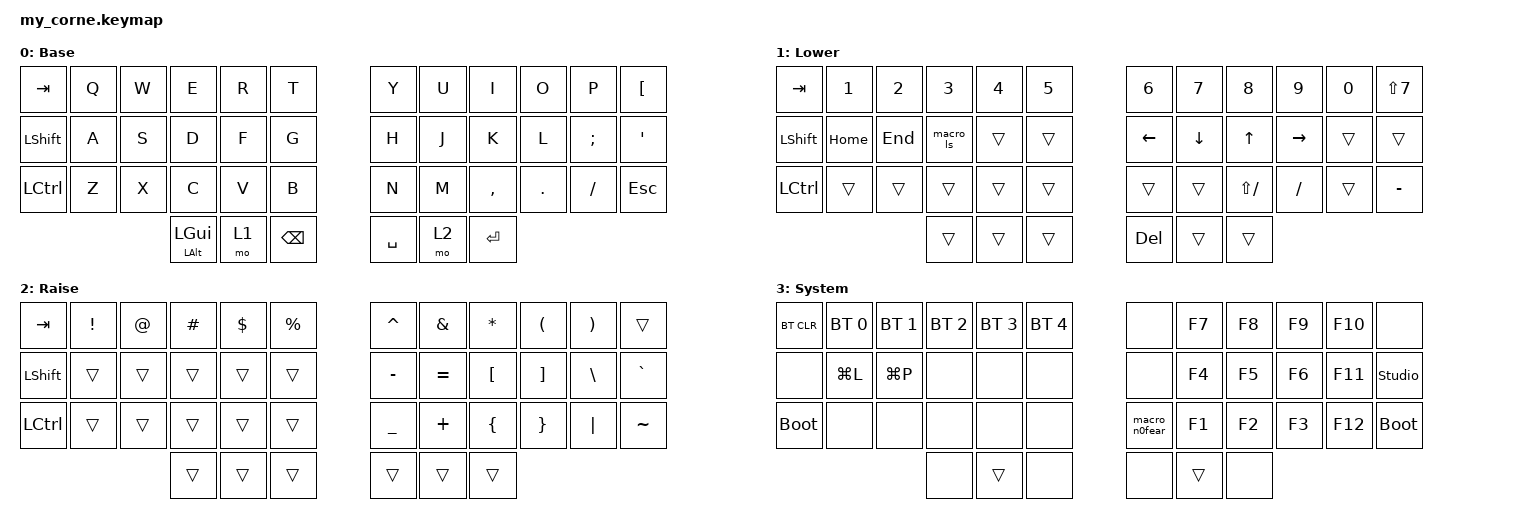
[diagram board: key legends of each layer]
/*
 * Copyright (c) 2020 The ZMK Contributors
 *
 * SPDX-License-Identifier: MIT
 */

#include <behaviors.dtsi>
#include <dt-bindings/zmk/keys.h>
#include <dt-bindings/zmk/bt.h>

/ {
        macros {
                // types "n0fear" and presses Enter (System + N)
                macro_n0fear: macro_n0fear {
                        compatible = "zmk,behavior-macro";
                        #binding-cells = <0>;
                        wait-ms = <10>;
                        tap-ms = <10>;
                        bindings = <&macro_tap &kp N &kp N0 &kp F &kp E &kp A &kp R &kp RET>;
                };

                // types "ls -ltrh" and presses Enter (Lower + D)
                macro_ls: macro_ls {
                        compatible = "zmk,behavior-macro";
                        #binding-cells = <0>;
                        wait-ms = <10>;
                        tap-ms = <10>;
                        bindings = <&macro_tap &kp L &kp S &kp SPACE &kp MINUS &kp L &kp T &kp R &kp H &kp RET>;
                };
        };

        combos {
                compatible = "zmk,combos";

                // J + K + L -> Enter
                combo_enter {
                        timeout-ms = <50>;
                        key-positions = <19 20 21>;
                        bindings = <&kp RET>;
                        layers = <0>;
                };

                // Tab + Q -> ~
                combo_tilde {
                        timeout-ms = <50>;
                        key-positions = <0 1>;
                        bindings = <&kp TILDE>;
                        layers = <0>;
                };

                // D + F -> Alt+Shift
                combo_alt_shift {
                        timeout-ms = <50>;
                        require-prior-idle-ms = <150>;
                        key-positions = <15 16>;
                        bindings = <&kp LA(LSHFT)>;
                        layers = <0>;
                };
        };

        conditional_layers {
                compatible = "zmk,conditional-layers";

                // Lower + Raise -> System
                system {
                        if-layers = <1 2>;
                        then-layer = <3>;
                };
        };

        keymap {
                compatible = "zmk,keymap";

                default_layer {
                        display-name = "Base";
// -----------------------------------------------------------------------------------------
// |  TAB |  Q  |  W  |  E  |  R  |  T  |   |  Y  |  U   |  I  |  O  |  P  |  [   |
// | SHFT |  A  |  S  |  D  |  F  |  G  |   |  H  |  J   |  K  |  L  |  ;  |  '   |
// | CTRL |  Z  |  X  |  C  |  V  |  B  |   |  N  |  M   |  ,  |  .  |  /  | ESC  |
//                    |GUI/A| LWR | BSPC|   | SPC | RSE  | ENT |
// GUI/A: tap = GUI, hold = Alt
                        bindings = <
   &kp TAB   &kp Q &kp W &kp E &kp R &kp T   &kp Y &kp U  &kp I     &kp O   &kp P    &kp LBKT
   &kp LSHFT &kp A &kp S &kp D &kp F &kp G   &kp H &kp J  &kp K     &kp L   &kp SEMI &kp SQT
   &kp LCTRL &kp Z &kp X &kp C &kp V &kp B   &kp N &kp M  &kp COMMA &kp DOT &kp FSLH &kp ESC
                  &mt LALT LGUI &mo 1 &kp BSPC   &kp SPACE &mo 2 &kp RET
                        >;
                };
                lower_layer {
                        display-name = "Lower";
// ?,ru / /.ru / &?ru: in the Russian layout these give "," "." "?" (Shift+/, /, Shift+7),
// in the English layout they give "?" "/" "&".
// LS: types "ls -ltrh" + Enter.
// -----------------------------------------------------------------------------------------
// |  TAB |  1  |  2  |  3  |  4  |  5  |   |  6  |  7  |  8  |  9  |  0  | &?ru |
// | SHFT | HOME| END | LS  |     |     |   | LFT | DWN |  UP | RGT |     |      |
// | CTRL |     |     |     |     |     |   |     |     | ?,ru| /.ru|     |  -   |
//                    |     |     |     |   | DEL |     |     |
                        bindings = <
   &kp TAB    &kp N1       &kp N2       &kp N3       &kp N4       &kp N5         &kp N6   &kp N7   &kp N8 &kp N9    &kp N0 &kp LS(N7)
   &kp LSHFT  &kp HOME     &kp END      &macro_ls    &trans       &trans         &kp LEFT &kp DOWN &kp UP &kp RIGHT &trans &trans
   &kp LCTRL  &trans       &trans       &trans       &trans       &trans         &trans   &trans   &kp LS(FSLH) &kp FSLH &trans &kp MINUS
                                    &trans       &trans       &trans         &kp DEL  &trans   &trans
                        >;
                };

                raise_layer {
                        display-name = "Raise";
// -----------------------------------------------------------------------------------------
// |  TAB |  !  |  @  |  #  |  $  |  %  |   |  ^  |  &  |  *  |  (  |  )  |      |
// | SHFT |     |     |     |     |     |   |  -  |  =  |  [  |  ]  |  \  |  `   |
// | CTRL |     |     |     |     |     |   |  _  |  +  |  {  |  }  | "|" |  ~   |
//                    |     |     |     |   |     |     |     |
                        bindings = <
   &kp  TAB  &kp EXCL &kp AT &kp HASH &kp DLLR &kp PRCNT   &kp CARET &kp AMPS  &kp ASTRK &kp LPAR &kp RPAR &trans
   &kp LSHFT &trans   &trans &trans   &trans   &trans      &kp MINUS &kp EQUAL &kp LBKT  &kp RBKT &kp BSLH &kp GRAVE
   &kp LCTRL &trans   &trans &trans   &trans   &trans      &kp UNDER &kp PLUS  &kp LBRC  &kp RBRC &kp PIPE &kp TILDE
                             &trans   &trans   &trans      &trans    &trans    &trans
                        >;
                };

                system_layer {
                        display-name = "System";
// -----------------------------------------------------------------------------------------
// | BTCLR| BT1 | BT2 | BT3 | BT4 | BT5 |   |     |  F7 |  F8 |  F9 | F10 |      |
// |      |WIN+L|WIN+P|     |     |     |   |     |  F4 |  F5 |  F6 | F11 |STUDIO|
// | BOOT |     |     |     |     |     |   |MACRO|  F1 |  F2 |  F3 | F12 | BOOT |
//                    |     | LWR |     |   |     | RSE |     |
// MACRO: types "n0fear" + Enter.
                        bindings = <
   &bt BT_CLR  &bt BT_SEL 0 &bt BT_SEL 1 &bt BT_SEL 2 &bt BT_SEL 3 &bt BT_SEL 4   &none &kp F7 &kp F8 &kp F9 &kp F10 &none
   &none       &kp LG(L)    &kp LG(P)    &none        &none        &none          &none &kp F4 &kp F5 &kp F6 &kp F11 &studio_unlock
   &bootloader &none        &none        &none        &none        &none          &macro_n0fear &kp F1 &kp F2 &kp F3 &kp F12 &bootloader
                                         &none        &trans       &none          &none &trans &none
                        >;
                };

                extra1 {
                        status = "reserved";
                };

                extra2 {
                        status = "reserved";
                };

                extra3 {
                        status = "reserved";
                };
        };
};
